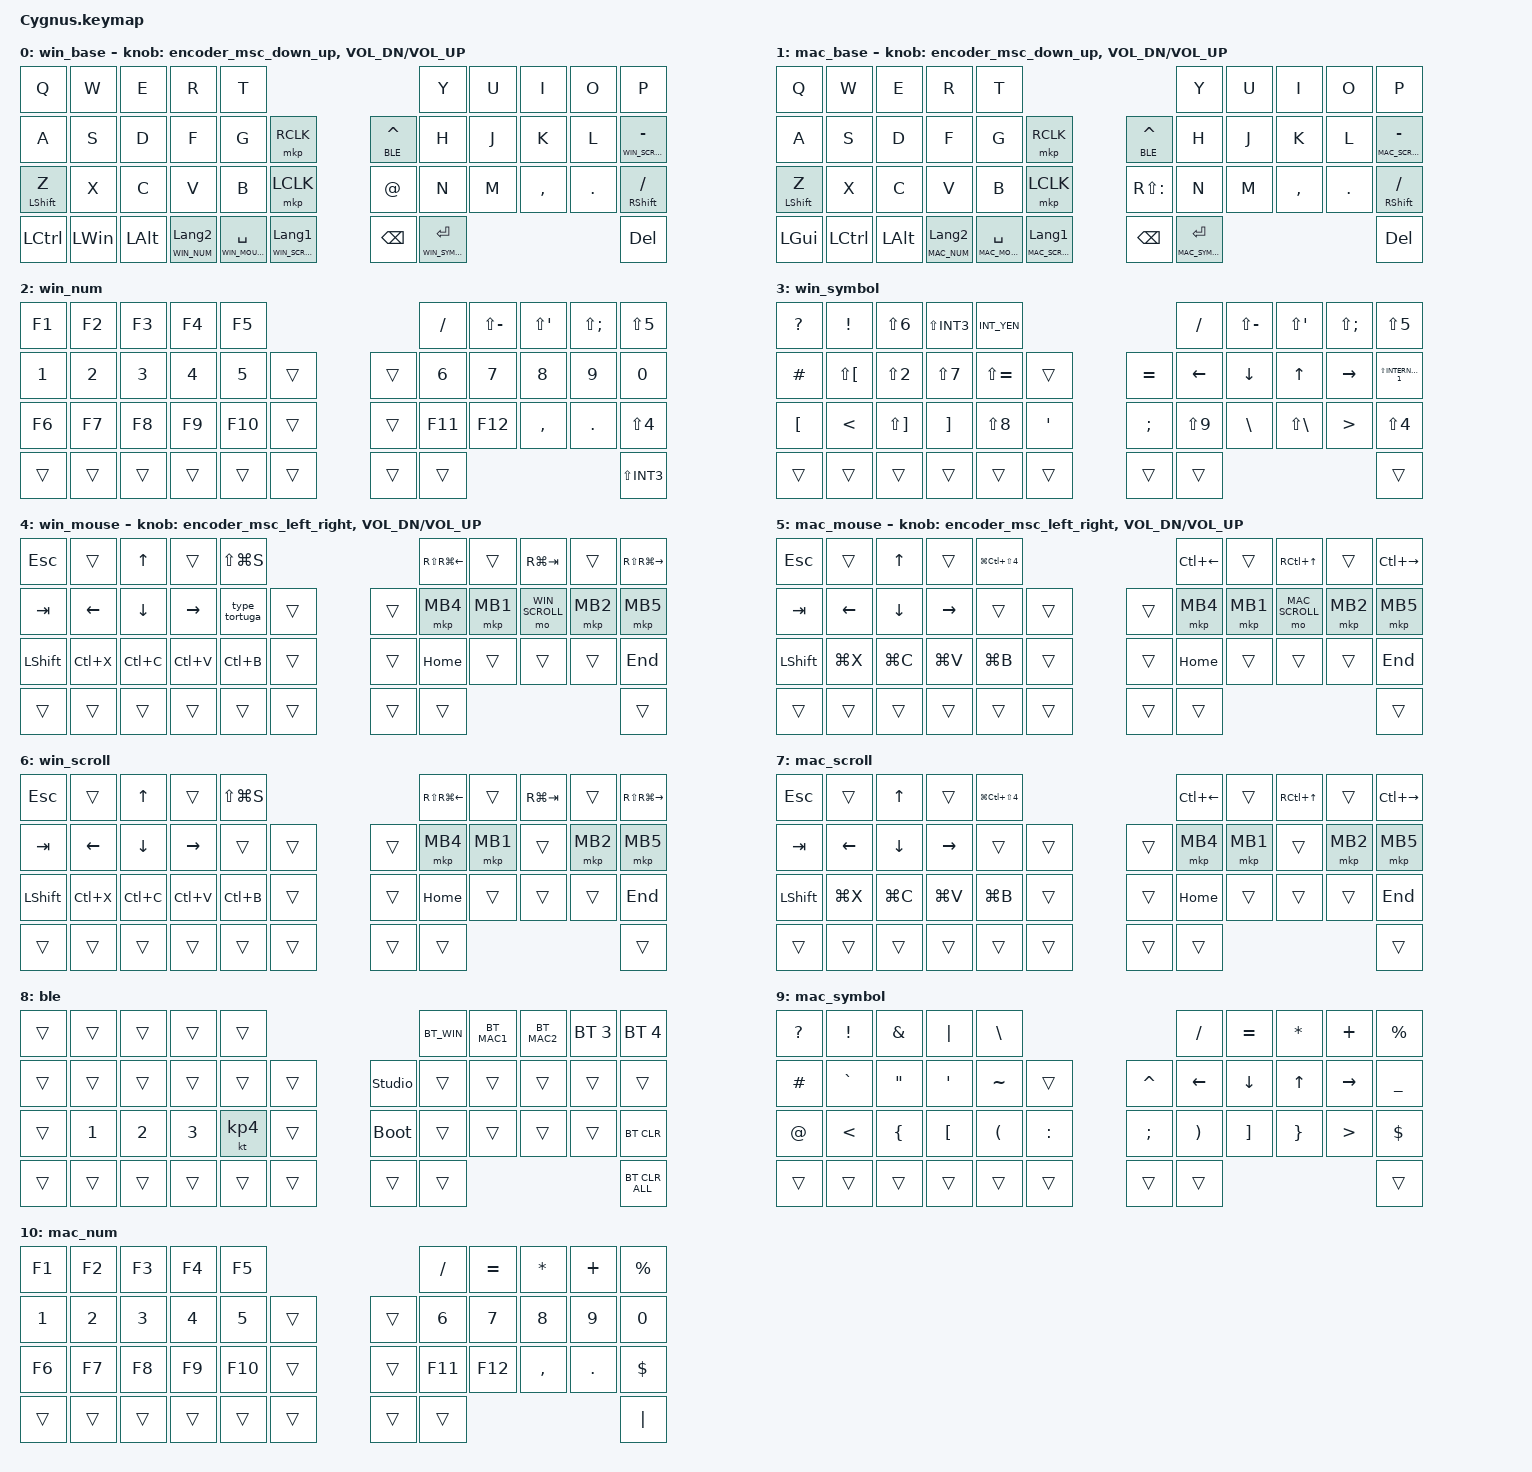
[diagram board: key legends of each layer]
#define ZMK_POINTING_DEFAULT_SCRL_VAL 130    // エンコーダ縦・横（110 より一段速く）

#include <behaviors.dtsi>
#include <dt-bindings/zmk/bt.h>
#include <dt-bindings/zmk/keys.h>
#include <dt-bindings/zmk/pointing.h>

// Layer indices (definition order)

#define WIN_BASE    0
#define MAC_BASE    1
#define WIN_NUM     2
#define WIN_SYMBOL  3
#define WIN_MOUSE   4
#define MAC_MOUSE   5
#define WIN_SCROLL  6
#define MAC_SCROLL  7
#define BLE         8
#define MAC_SYMBOL  9
#define MAC_NUM     10

// Cygnus マニュアル「JIS-US 文字＆変換キー対応表」(p.16): Studio の US Output → JIS OS の文字
// win_* は mac_* と同位置で同じ文字を出すよう、表の Shift 行・記号行から Output を選ぶ
// 例: &→LS(7) ^=EQUAL ==LS(MINUS) +=LS(EQUAL) *=LS(SQT) @=[ _=LS(MINUS) [=RBKT ]=BSLH |=LS(INT3)

&mt {
    flavor = "balanced";
    quick-tap-ms = <0>;
};

&msc {
    delay-ms = <0>;
    time-to-max-speed-ms = <0>;
    acceleration-exponent = <0>;
};

/ {
    combos {
        compatible = "zmk,combos";

        // Z+X: Win は JIS-US 表で `"` = LS(2)、Mac は US の DOUBLE_QUOTES

        double_quotation_win {
            bindings = <&kp LS(NUMBER_2)>;
            key-positions = <20 21>;
            layers = <0>;
        };

        double_quotation_mac {
            bindings = <&kp DOUBLE_QUOTES>;
            key-positions = <20 21>;
            layers = <1>;
        };
    };

    macros {
        to_layer_0: to_layer_0 {
            compatible = "zmk,behavior-macro-one-param";
            #binding-cells = <1>;
            bindings = <&to 0 &macro_param_1to1 &kp MACRO_PLACEHOLDER>;
            label = "TO_LAYER_0";
        };

        // BT_SEL 0 = Windows → win_base

        BT_WIN: BT_WIN {
            compatible = "zmk,behavior-macro";
            #binding-cells = <0>;
            bindings =
                <&tog_off WIN_BASE &tog_off MAC_BASE>,
                <&macro_wait_time 200>,
                <&bt BT_SEL 0>,
                <&macro_wait_time 500>,
                <&tog_on WIN_BASE>;

            label = "BT_WIN";
        };

        // BT_SEL 1 = Mac → mac_base

        BT_MAC1: BT_MAC1 {
            compatible = "zmk,behavior-macro";
            #binding-cells = <0>;
            bindings =
                <&tog_off WIN_BASE &tog_off MAC_BASE>,
                <&macro_wait_time 200>,
                <&bt BT_SEL 1>,
                <&macro_wait_time 500>,
                <&tog_on MAC_BASE>;

            label = "BT_MAC1";
        };

        // BT_SEL 2 = Mac → mac_base（同じ Mac レイヤー）

        BT_MAC2: BT_MAC2 {
            compatible = "zmk,behavior-macro";
            #binding-cells = <0>;
            bindings =
                <&tog_off WIN_BASE &tog_off MAC_BASE>,
                <&macro_wait_time 200>,
                <&bt BT_SEL 2>,
                <&macro_wait_time 500>,
                <&tog_on MAC_BASE>;

            label = "BT_MAC2";
        };

        type_tortuga: type_tortuga {
            compatible = "zmk,behavior-macro";
            #binding-cells = <0>;
            wait-ms = <10>;
            tap-ms = <10>;
            bindings = <&kp LS(T) &kp O &kp R &kp T &kp U &kp G &kp A &kp NUMBER_4 &kp NUMBER_4 &kp NUMBER_1 &kp NUMBER_6 &kp K &kp A &kp M &kp E>;
            label = "TYPE_TORTUGA";
        };
    };

    behaviors {
        lt_to_layer_0: lt_to_layer_0 {
            compatible = "zmk,behavior-hold-tap";
            label = "LAYER_TAP_TO_0";
            bindings = <&mo>, <&to_layer_0>;

            #binding-cells = <2>;
            tapping-term-ms = <200>;
        };

        encoder_msc_down_up: encoder_msc_down_up {
            compatible = "zmk,behavior-sensor-rotate";
            label = "ENCODER_MSC_DOWN_UP";
            #sensor-binding-cells = <0>;
            bindings = <&msc SCRL_DOWN>, <&msc SCRL_UP>;

            tap-ms = <20>;
        };

        encoder_msc_left_right: encoder_msc_left_right {
            compatible = "zmk,behavior-sensor-rotate";
            label = "ENCODER_MSC_LEFT_RIGHT";
            #sensor-binding-cells = <0>;
            bindings = <&msc SCRL_RIGHT>, <&msc SCRL_LEFT>;

            tap-ms = <20>;
        };

        tog_on: toggle_layer_on_only {
            compatible = "zmk,behavior-toggle-layer";
            #binding-cells = <1>;
            display-name = "Toggle Layer On";
            toggle-mode = "on";
        };

        tog_off: toggle_layer_off_only {
            compatible = "zmk,behavior-toggle-layer";
            #binding-cells = <1>;
            display-name = "Toggle Layer Off";
            toggle-mode = "off";
        };
    };

    keymap {
        compatible = "zmk,keymap";

        // 0: Windows base（JIS 106 物理配列 / OS は日本語 IME）

        win_base {
            bindings = <
&kp Q             &kp W         &kp E         &kp R                   &kp T                                                              &kp Y                 &kp U  &kp I      &kp O    &kp P
&kp A             &kp S         &kp D         &kp F                   &kp G                &mkp RCLK                      &lt BLE CARET  &kp H                 &kp J  &kp K      &kp L    &lt WIN_SCROLL MINUS
&mt LEFT_SHIFT Z  &kp X         &kp C         &kp V                   &kp B                &mkp LCLK                      &kp AT_SIGN    &kp N                 &kp M  &kp COMMA  &kp DOT  &mt RIGHT_SHIFT SLASH
&kp LCTRL         &kp LEFT_WIN  &kp LEFT_ALT  &lt WIN_NUM LANGUAGE_2  &lt WIN_MOUSE SPACE  &lt WIN_SCROLL LANGUAGE_1      &kp BACKSPACE  &lt WIN_SYMBOL ENTER                             &kp DEL
            >;

            sensor-bindings =
                <&encoder_msc_down_up>,
                <&inc_dec_kp C_VOL_DN C_VOL_UP>;
        };

        // 1: Mac base（修飾・右下 Shift は Win と共通。Space/Scroll の飛び先だけ Mac）

        mac_base {
            bindings = <
&kp Q             &kp W             &kp E         &kp R                   &kp T                                                              &kp Y                 &kp U  &kp I      &kp O    &kp P
&kp A             &kp S             &kp D         &kp F                   &kp G                &mkp RCLK                      &lt BLE CARET  &kp H                 &kp J  &kp K      &kp L    &lt MAC_SCROLL MINUS
&mt LEFT_SHIFT Z  &kp X             &kp C         &kp V                   &kp B                &mkp LCLK                      &kp RS(COLON)  &kp N                 &kp M  &kp COMMA  &kp DOT  &mt RIGHT_SHIFT SLASH
&kp LEFT_GUI      &kp LEFT_CONTROL  &kp LEFT_ALT  &lt MAC_NUM LANGUAGE_2  &lt MAC_MOUSE SPACE  &lt MAC_SCROLL LANGUAGE_1      &kp BACKSPACE  &lt MAC_SYMBOL ENTER                             &kp DEL
            >;

            sensor-bindings =
                <&encoder_msc_down_up>,
                <&inc_dec_kp C_VOL_DN C_VOL_UP>;
        };

        // 2: WIN_NUM（JIS-US 表。mac_num と同じ見た目の記号が Windows 日本語配列で出る Output）

        win_num {
            bindings = <
&kp F1        &kp F2        &kp F3        &kp F4        &kp F5                            &kp SLASH     &kp LS(MINUS)  &kp LS(SINGLE_QUOTE)  &kp LS(SEMICOLON)  &kp LS(NUMBER_5)
&kp NUMBER_1  &kp NUMBER_2  &kp NUMBER_3  &kp NUMBER_4  &kp NUMBER_5  &trans      &trans  &kp NUMBER_6  &kp NUMBER_7   &kp NUMBER_8          &kp NUMBER_9       &kp NUMBER_0
&kp F6        &kp F7        &kp F8        &kp F9        &kp F10       &trans      &trans  &kp F11       &kp F12        &kp COMMA             &kp DOT            &kp LS(NUMBER_4)
&trans        &trans        &trans        &trans        &trans        &trans      &trans  &trans                                                                &kp LS(INT3)
            >;
        };

        // 3: WIN_SYMBOL（JIS-US 表に基づく Output。mac_symbol と同じ記号意図）

        win_symbol {
            bindings = <
&kp QUESTION      &kp EXCLAMATION       &kp LS(NUMBER_6)       &kp LS(INT3)       &kp INT_YEN                                            &kp SLASH         &kp LS(MINUS)   &kp LS(SINGLE_QUOTE)  &kp LS(SEMICOLON)  &kp LS(NUMBER_5)
&kp HASH          &kp LS(LEFT_BRACKET)  &kp LS(NUMBER_2)       &kp LS(NUMBER_7)   &kp LS(EQUAL)     &trans                &kp EQUAL      &kp LEFT_ARROW    &kp DOWN_ARROW  &kp UP_ARROW          &kp RIGHT_ARROW    &kp LS(INTERNATIONAL_1)
&kp LEFT_BRACKET  &kp LESS_THAN         &kp LS(RIGHT_BRACKET)  &kp RIGHT_BRACKET  &kp LS(NUMBER_8)  &kp SINGLE_QUOTE      &kp SEMICOLON  &kp LS(NUMBER_9)  &kp BACKSLASH   &kp LS(BACKSLASH)     &kp GREATER_THAN   &kp LS(NUMBER_4)
&trans            &trans                &trans                 &trans             &trans            &trans                &trans         &trans                                                                     &trans
            >;
        };

        // 4: Windows mouse（ユーザー定義 L1）

        win_mouse {
            bindings = <
&kp ESC         &trans          &kp UP_ARROW    &trans     &kp LS(LG(S))                      &kp RS(RG(LEFT_ARROW))  &trans    &kp RG(TAB)     &trans    &kp RS(RG(RIGHT_ARROW))
&kp TAB         &kp LEFT_ARROW  &kp DOWN_ARROW  &kp RIGHT  &type_tortuga  &trans      &trans  &mkp MB4                &mkp MB1  &mo WIN_SCROLL  &mkp MB2  &mkp MB5
&kp LEFT_SHIFT  &kp LC(X)       &kp LC(C)       &kp LC(V)  &kp LC(B)      &trans      &trans  &kp HOME                &trans    &trans          &trans    &kp END
&trans          &trans          &trans          &trans     &trans         &trans      &trans  &trans                                                      &trans
            >;

            sensor-bindings =
                <&encoder_msc_left_right>,
                <&inc_dec_kp C_VOL_DN C_VOL_UP>;
        };

        // 5: Mac mouse（同じ配置。修飾を Gui/Mac 相当へ）

        mac_mouse {
            bindings = <
&kp ESC         &trans          &kp UP_ARROW    &trans     &kp LG(LC(LS(NUMBER_4)))                      &kp LC(LEFT_ARROW)  &trans    &kp RC(UP_ARROW)  &trans    &kp LC(RIGHT_ARROW)
&kp TAB         &kp LEFT_ARROW  &kp DOWN_ARROW  &kp RIGHT  &trans                    &trans      &trans  &mkp MB4            &mkp MB1  &mo MAC_SCROLL    &mkp MB2  &mkp MB5
&kp LEFT_SHIFT  &kp LG(X)       &kp LG(C)       &kp LG(V)  &kp LG(B)                 &trans      &trans  &kp HOME            &trans    &trans            &trans    &kp END
&trans          &trans          &trans          &trans     &trans                    &trans      &trans  &trans                                                    &trans
            >;

            sensor-bindings =
                <&encoder_msc_left_right>,
                <&inc_dec_kp C_VOL_DN C_VOL_UP>;
        };

        // 6: Windows scroll（キーは win_mouse と同内容。ボールだけホイール化）

        win_scroll {
            bindings = <
&kp ESC         &trans          &kp UP_ARROW    &trans     &kp LS(LG(S))                      &kp RS(RG(LEFT_ARROW))  &trans    &kp RG(TAB)  &trans    &kp RS(RG(RIGHT_ARROW))
&kp TAB         &kp LEFT_ARROW  &kp DOWN_ARROW  &kp RIGHT  &trans         &trans      &trans  &mkp MB4                &mkp MB1  &trans       &mkp MB2  &mkp MB5
&kp LEFT_SHIFT  &kp LC(X)       &kp LC(C)       &kp LC(V)  &kp LC(B)      &trans      &trans  &kp HOME                &trans    &trans       &trans    &kp END
&trans          &trans          &trans          &trans     &trans         &trans      &trans  &trans                                                   &trans
            >;
        };

        // 7: Mac scroll（キーは mac_mouse と同内容。ボールだけホイール化）

        mac_scroll {
            bindings = <
&kp ESC         &trans          &kp UP_ARROW    &trans     &kp LG(LC(LS(NUMBER_4)))                      &kp LC(LEFT_ARROW)  &trans    &kp RC(UP_ARROW)  &trans    &kp LC(RIGHT_ARROW)
&kp TAB         &kp LEFT_ARROW  &kp DOWN_ARROW  &kp RIGHT  &trans                    &trans      &trans  &mkp MB4            &mkp MB1  &trans            &mkp MB2  &mkp MB5
&kp LEFT_SHIFT  &kp LG(X)       &kp LG(C)       &kp LG(V)  &kp LG(B)                 &trans      &trans  &kp HOME            &trans    &trans            &trans    &kp END
&trans          &trans          &trans          &trans     &trans                    &trans      &trans  &trans                                                    &trans
            >;
        };

        // 8: BLE / システム（BT0=Win, BT1/BT2=Mac）

        ble {
            bindings = <
&trans  &trans        &trans        &trans        &trans                                 &BT_WIN  &BT_MAC1  &BT_MAC2  &bt BT_SEL 3  &bt BT_SEL 4
&trans  &trans        &trans        &trans        &trans     &trans      &studio_unlock  &trans   &trans    &trans    &trans        &trans
&trans  &kp NUMBER_1  &kp NUMBER_2  &kp NUMBER_3  &kt KP_N4  &trans      &bootloader     &trans   &trans    &trans    &trans        &bt BT_CLR
&trans  &trans        &trans        &trans        &trans     &trans      &trans          &trans                                     &bt BT_CLR_ALL
            >;
        };

        // 9: MAC_SYMBOL（US 配列 Mac 向け。Cygnus 本体と同じ記号レイアウト）

        mac_symbol {
            bindings = <
&kp QUESTION  &kp EXCLAMATION  &kp AMPERSAND      &kp PIPE          &kp BACKSLASH                                   &kp SLASH              &kp EQUAL          &kp ASTERISK     &kp PLUS          &kp PERCENT
&kp HASH      &kp GRAVE        &kp DOUBLE_QUOTES  &kp SINGLE_QUOTE  &kp TILDE             &trans         &kp CARET  &kp LEFT_ARROW         &kp DOWN_ARROW     &kp UP_ARROW     &kp RIGHT_ARROW   &kp UNDER
&kp AT_SIGN   &kp LESS_THAN    &kp LEFT_BRACE     &kp LEFT_BRACKET  &kp LEFT_PARENTHESIS  &kp COLON      &kp SEMI   &kp RIGHT_PARENTHESIS  &kp RIGHT_BRACKET  &kp RIGHT_BRACE  &kp GREATER_THAN  &kp DOLLAR
&trans        &trans           &trans             &trans            &trans                &trans         &trans     &trans                                                                       &trans
            >;
        };

        // 10: MAC_NUM（US 配列。Cygnus 本体 num と同内容）

        mac_num {
            bindings = <
&kp F1        &kp F2        &kp F3        &kp F4        &kp F5                            &kp SLASH     &kp EQUAL     &kp ASTERISK  &kp PLUS      &kp PERCENT
&kp NUMBER_1  &kp NUMBER_2  &kp NUMBER_3  &kp NUMBER_4  &kp NUMBER_5  &trans      &trans  &kp NUMBER_6  &kp NUMBER_7  &kp NUMBER_8  &kp NUMBER_9  &kp NUMBER_0
&kp F6        &kp F7        &kp F8        &kp F9        &kp F10       &trans      &trans  &kp F11       &kp F12       &kp COMMA     &kp DOT       &kp DOLLAR
&trans        &trans        &trans        &trans        &trans        &trans      &trans  &trans                                                  &kp PIPE
            >;
        };
    };
};
